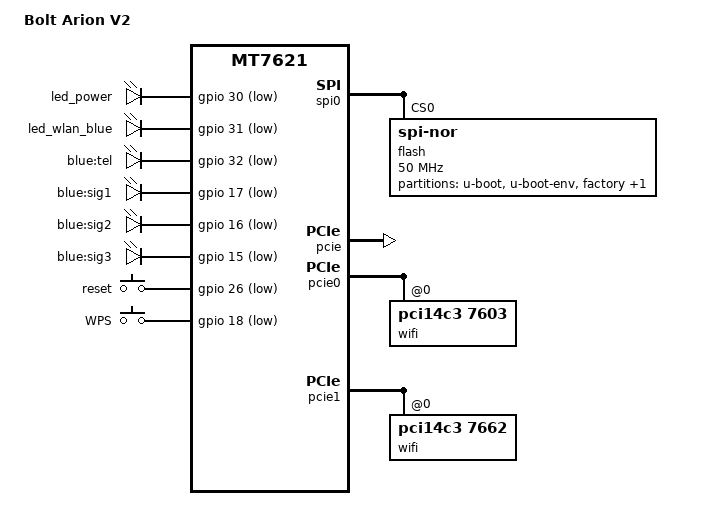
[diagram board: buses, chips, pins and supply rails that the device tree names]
// SPDX-License-Identifier: GPL-2.0-or-later OR MIT

#include "mt7621.dtsi"

#include <dt-bindings/gpio/gpio.h>
#include <dt-bindings/input/input.h>
#include <dt-bindings/leds/common.h>

/ {
	compatible = "bolt,arion-v2", "mediatek,mt7621-soc";
	model = "Bolt Arion V2";

	aliases {
		label-mac-device = &lan;
		led-boot = &led_power;
		led-failsafe = &led_power;
		led-running = &led_power;
		led-upgrade = &led_power;
	};

	chosen {
		bootargs = "console=ttyS0,57600n8";
	};

	leds {
		compatible = "gpio-leds";

		led_power: power {
			function = LED_FUNCTION_POWER;
			gpios = <&gpio 30 GPIO_ACTIVE_LOW>;
			default-state = "on";
		};

		led_wlan_blue: wlan_blue {
			function = LED_FUNCTION_WLAN;
			gpios = <&gpio 31 GPIO_ACTIVE_LOW>;
		};

		led_tel_blue: tel_blue {
			label = "blue:tel";
			gpios = <&gpio 32 GPIO_ACTIVE_LOW>;
		};

		led_sig1_blue: sig1_blue {
			label = "blue:sig1";
			gpios = <&gpio 17 GPIO_ACTIVE_LOW>;
		};

		led_sig2_blue: sig2_blue {
			label = "blue:sig2";
			gpios = <&gpio 16 GPIO_ACTIVE_LOW>;
		};

		led_sig3_blue: sig3_blue {
			label = "blue:sig3";
			gpios = <&gpio 15 GPIO_ACTIVE_LOW>;
		};
	};

	keys {
		compatible = "gpio-keys";

		reset {
			label = "reset";
			gpios = <&gpio 26 GPIO_ACTIVE_LOW>;
			linux,code = <KEY_RESTART>;
		};

		wps {
			label = "WPS";
			gpios = <&gpio 18 GPIO_ACTIVE_LOW>;
			linux,code = <KEY_WPS_BUTTON>;
		};
	};
};

&spi0 {
	status = "okay";

	flash@0 {
		compatible = "jedec,spi-nor";
		reg = <0>;
		spi-max-frequency = <50000000>;
		m25p,fast-read;

		partitions {
			compatible = "fixed-partitions";
			#address-cells = <1>;
			#size-cells = <1>;

			partition@0 {
				label = "u-boot";
				reg = <0x0 0x20000>;
				read-only;
			};

			partition@30000 {
				label = "u-boot-env";
				reg = <0x20000 0x20000>;
				read-only;
			};

			partition@40000 {
				label = "factory";
				reg = <0x40000 0x10000>;
				read-only;

				nvmem-layout {
					compatible = "fixed-layout";
					#address-cells = <1>;
					#size-cells = <1>;

					eeprom_factory_0: eeprom@0 {
						reg = <0x0 0x400>;
					};

					eeprom_factory_8000: eeprom@8000 {
						reg = <0x8000 0x200>;
					};

					macaddr_factory_28: macaddr@28 {
						compatible = "mac-base";
						reg = <0x28 0x6>;
						#nvmem-cell-cells = <1>;
					};
				};
			};

			partition@50000 {
				compatible = "denx,uimage";
				label = "firmware";
				reg = <0x50000 0x1fb0000>;
			};
		};
	};
};

&pcie {
	status = "okay";
};

&pcie0 {
	wifi@0,0 {
		compatible = "pci14c3,7603";
		reg = <0x0000 0 0 0 0>;
		nvmem-cells = <&eeprom_factory_0>;
		nvmem-cell-names = "eeprom";
		ieee80211-freq-limit = <2400000 2500000>;
	};
};

&pcie1 {
	wifi@0,0 {
		compatible = "pci14c3,7662";
		reg = <0x0000 0 0 0 0>;
		nvmem-cells = <&eeprom_factory_8000>;
		nvmem-cell-names = "eeprom";
		ieee80211-freq-limit = <5000000 6000000>;
	};
};

&gmac0 {
	nvmem-cells = <&macaddr_factory_28 3>;
	nvmem-cell-names = "mac-address";
};

&switch0 {
	ports {
		port@0 {
			status = "okay";
			label = "wan";
		};

		lan: port@1 {
			status = "okay";
			label = "lan";
			nvmem-cells = <&macaddr_factory_28 0>;
			nvmem-cell-names = "mac-address";
		};

	};
};

&ethernet {
	pinctrl-0 = <&mdio_pins>, <&rgmii1_pins>;
};

&state_default {
	gpio {
		groups = "jtag", "uart2", "uart3", "wdt", "rgmii2";
		function = "gpio";
	};
};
